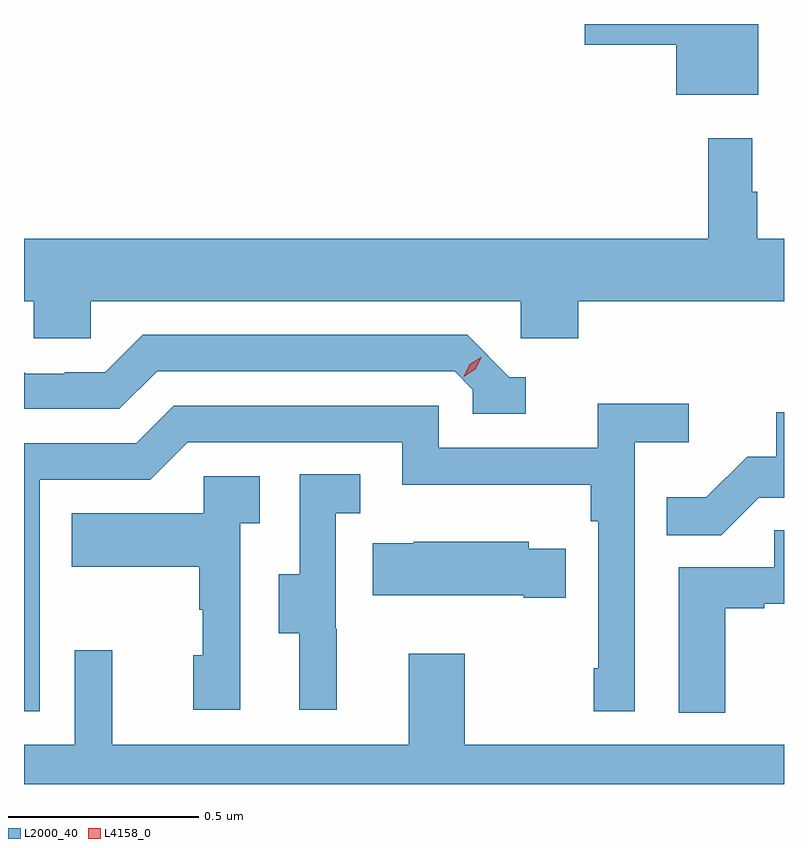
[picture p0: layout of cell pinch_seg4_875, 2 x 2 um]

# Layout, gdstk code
import gdstk
lib = gdstk.Library(unit=1e-6, precision=1e-09)
def P(c, l, *ps):  # polygons
    for p in ps: c.add(gdstk.Polygon(p, *l))
L2000_40 = (2000, 40)
L4158_0 = (4158, 0)

pinch_seg4_875 = lib.new_cell('pinch_seg4_875')
P(pinch_seg4_875, L2000_40, [(855.103,794.885),(854.646,794.885),(854.646,794.831),(854.888,794.831),(854.888,794.699),(855.103,794.699)],
  [(853.347,794.156),(854.478,794.156),(854.478,794.058),(854.63,794.058),(854.63,794.156),(855.171,794.156),(855.171,794.32),(855.1,794.32),(855.1,794.444),(855.088,794.444),(855.088,794.584),(854.971,794.584),(854.971,794.32),(853.171,794.32),(853.171,794.156),(853.197,794.156),(853.197,794.058),(853.347,794.058)],
  [(854.491,793.956),(854.448,793.956),(854.337,794.067),(853.484,794.067),(853.385,793.968),(853.278,793.968),(853.278,793.965),(853.175,793.965),(853.171,793.969),(853.171,793.872),(853.422,793.872),(853.521,793.971),(854.304,793.971),(854.352,793.923),(854.352,793.86),(854.491,793.86)],
  [(853.212,793.686),(853.503,793.686),(853.602,793.785),(854.166,793.785),(854.166,793.673),(854.662,793.673),(854.662,793.577),(854.682,793.577),(854.682,793.189),(854.67,793.189),(854.67,793.077),(854.778,793.077),(854.778,793.784),(854.92,793.784),(854.92,793.886),(854.681,793.886),(854.681,793.77),(854.262,793.77),(854.262,793.881),(853.565,793.881),(853.466,793.782),(853.171,793.782),(853.171,793.077),(853.212,793.077)],
  [(855.104,793.638),(855.171,793.638),(855.171,793.863),(855.151,793.863),(855.151,793.746),(855.074,793.746),(854.967,793.639),(854.863,793.639),(854.863,793.54),(855.006,793.54)],
  [(853.994,793.293),(853.992,793.293),(853.992,793.597),(854.056,793.597),(854.056,793.7),(853.896,793.7),(853.896,793.437),(853.841,793.437),(853.841,793.282),(853.895,793.282),(853.895,793.08),(853.994,793.08)],
  [(853.74,793.571),(853.792,793.571),(853.792,793.695),(853.644,793.695),(853.644,793.597),(853.297,793.597),(853.297,793.457),(853.632,793.457),(853.632,793.343),(853.642,793.343),(853.642,793.224),(853.616,793.224),(853.616,793.08),(853.74,793.08)],
  [(855.016,793.347),(855.119,793.347),(855.119,793.359),(855.171,793.359),(855.171,793.553),(855.145,793.553),(855.145,793.455),(854.894,793.455),(854.894,793.073),(855.016,793.073)],
  [(854.597,793.504),(854.499,793.504),(854.499,793.522),(854.197,793.522),(854.197,793.519),(854.089,793.519),(854.089,793.382),(854.486,793.382),(854.486,793.375),(854.597,793.375)],
  [(855.171,792.988),(854.331,792.988),(854.331,793.228),(854.183,793.228),(854.183,792.988),(853.403,792.988),(853.403,793.237),(853.305,793.237),(853.305,792.988),(853.171,792.988),(853.171,792.885),(855.171,792.885)])
P(pinch_seg4_875, L4158_0, [(854.328,793.957),(854.328,793.957),(854.344,793.99),(854.375,794.009),(854.375,794.009),(854.375,794.009),(854.359,793.976),(854.328,793.957)])

lib.write_gds('pinch_seg4_875.gds')
